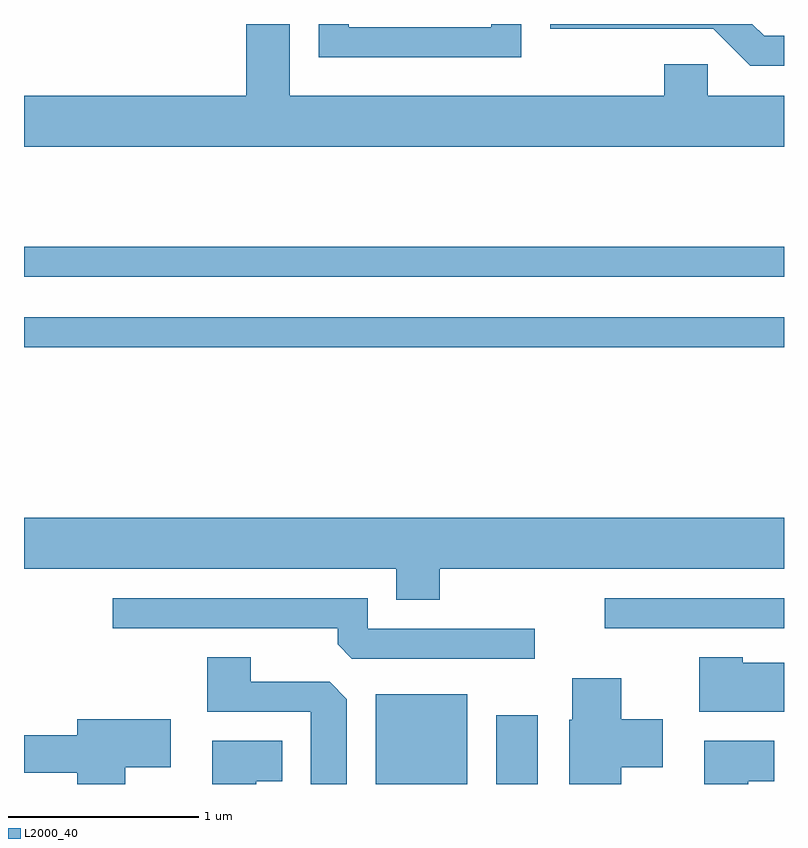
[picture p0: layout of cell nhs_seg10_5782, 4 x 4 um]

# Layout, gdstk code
import gdstk
lib = gdstk.Library(unit=1e-6, precision=1e-09)
def R(c, l, rs):  # rectangles x0, y0, x1, y1
    for r in rs: c.add(gdstk.rectangle(r[:2], r[2:], *l))
def P(c, l, *ps):  # polygons
    for p in ps: c.add(gdstk.Polygon(p, *l))
L2000_40 = (2000, 40)

nhs_seg10_5782 = lib.new_cell('nhs_seg10_5782')
R(nhs_seg10_5782, L2000_40, [(357.461,2150.522,357.944,2150.994), (358.096,2150.522,358.314,2150.884), (358.668,2151.341,359.611,2151.499), (355.611,2152.821,359.611,2152.979), (355.611,2153.191,359.611,2153.349)])
P(nhs_seg10_5782, L2000_40, [(359.611,2154.144),(359.209,2154.144),(359.209,2154.309),(358.981,2154.309),(358.981,2154.144),(357.009,2154.144),(357.009,2154.522),(356.781,2154.522),(356.781,2154.144),(355.611,2154.144),(355.611,2153.876),(359.611,2153.876)],
  [(358.229,2154.522),(358.071,2154.522),(358.071,2154.504),(357.319,2154.504),(357.319,2154.522),(357.161,2154.522),(357.161,2154.346),(358.229,2154.346)],
  [(359.611,2154.459),(359.507,2154.459),(359.444,2154.522),(358.381,2154.522),(358.381,2154.496),(359.239,2154.496),(359.434,2154.301),(359.611,2154.301)],
  [(357.799,2151.656),(359.611,2151.656),(359.611,2151.924),(355.611,2151.924),(355.611,2151.656),(357.571,2151.656),(357.571,2151.491),(357.799,2151.491)],
  [(358.298,2151.339),(357.419,2151.339),(357.419,2151.499),(356.078,2151.499),(356.078,2151.341),(357.261,2151.341),(357.261,2151.257),(357.337,2151.181),(358.298,2151.181)],
  [(357.309,2150.969),(357.219,2151.059),(356.804,2151.059),(356.804,2151.189),(356.576,2151.189),(356.576,2150.901),(357.121,2150.901),(357.121,2150.522),(357.309,2150.522)],
  [(359.611,2151.159),(359.394,2151.159),(359.394,2151.189),(359.166,2151.189),(359.166,2150.901),(359.611,2150.901)],
  [(358.754,2150.611),(358.974,2150.611),(358.974,2150.864),(358.754,2150.864),(358.754,2151.079),(358.496,2151.079),(358.496,2150.86),(358.481,2150.86),(358.481,2150.522),(358.754,2150.522)],
  [(356.144,2150.611),(356.384,2150.611),(356.384,2150.864),(355.891,2150.864),(355.891,2150.779),(355.611,2150.779),(355.611,2150.581),(355.891,2150.581),(355.891,2150.522),(356.144,2150.522)],
  [(359.424,2150.536),(359.559,2150.536),(359.559,2150.749),(359.191,2150.749),(359.191,2150.522),(359.424,2150.522)],
  [(356.834,2150.536),(356.969,2150.536),(356.969,2150.749),(356.601,2150.749),(356.601,2150.522),(356.834,2150.522)])

lib.write_gds('nhs_seg10_5782.gds')
